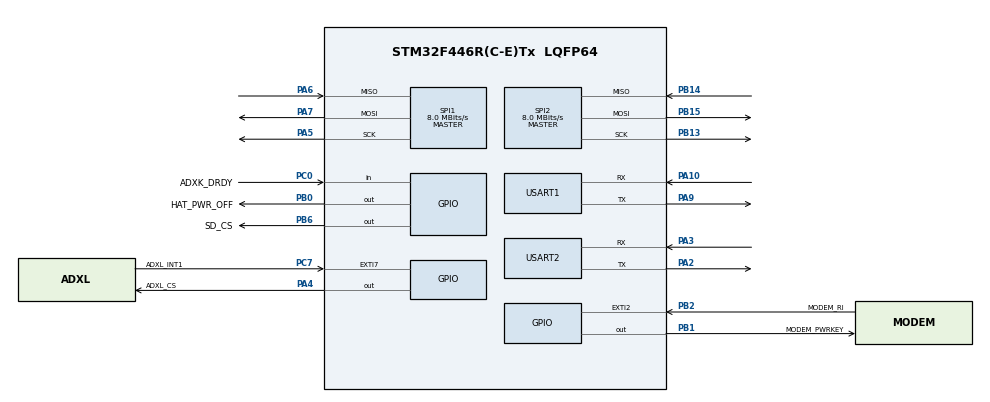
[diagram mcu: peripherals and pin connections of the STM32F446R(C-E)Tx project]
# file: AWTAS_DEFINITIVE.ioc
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Mcu.Family=STM32F4
Mcu.Name=STM32F446R(C-E)Tx
Mcu.Package=LQFP64
NVIC.EXTI9_5_IRQn=true\:0\:0\:false\:false\:true\:true\:true\:true
NVIC.PriorityGroup=NVIC_PRIORITYGROUP_4
PA10.Mode=Asynchronous
PA10.Signal=USART1_RX
PA13.Mode=Serial_Wire
PA13.Signal=SYS_JTMS-SWDIO
PA14.Mode=Serial_Wire
PA14.Signal=SYS_JTCK-SWCLK
PA2.Mode=Asynchronous
PA2.Signal=USART2_TX
PA3.Mode=Asynchronous
PA3.Signal=USART2_RX
PA4.GPIO_Label=ADXL_CS
PA4.GPIO_Speed=GPIO_SPEED_FREQ_HIGH
PA4.PinState=GPIO_PIN_SET
PA4.Signal=GPIO_Output
PA5.Mode=Full_Duplex_Master
PA5.Signal=SPI1_SCK
PA6.Mode=Full_Duplex_Master
PA6.Signal=SPI1_MISO
PA7.Mode=Full_Duplex_Master
PA7.Signal=SPI1_MOSI
PA9.Mode=Asynchronous
PA9.Signal=USART1_TX
PB0.GPIO_Label=HAT_PWR_OFF
PB0.GPIO_PuPd=GPIO_PULLDOWN
PB0.PinState=GPIO_PIN_RESET
PB0.Signal=GPIO_Output
PB1.GPIO_Label=MODEM_PWRKEY
PB1.GPIO_PuPd=GPIO_PULLDOWN
PB1.Signal=GPIO_Output
PB13.Mode=Full_Duplex_Master
PB13.Signal=SPI2_SCK
PB14.Mode=Full_Duplex_Master
PB14.Signal=SPI2_MISO
PB15.Mode=Full_Duplex_Master
PB15.Signal=SPI2_MOSI
PB2.GPIO_Label=MODEM_RI
PB2.GPIO_ModeDefaultEXTI=GPIO_MODE_IT_FALLING
PB2.GPIO_PuPd=GPIO_PULLUP
PB2.Signal=GPXTI2
PB6.GPIO_Label=SD_CS
PB6.GPIO_Speed=GPIO_SPEED_FREQ_HIGH
PB6.PinState=GPIO_PIN_SET
PB6.Signal=GPIO_Output
PC0.GPIO_Label=ADXK_DRDY
PC0.Signal=GPIO_Input
PC7.GPIO_Label=ADXL_INT1
PC7.GPIO_PuPd=GPIO_PULLDOWN
PC7.Signal=GPXTI7
ProjectManager.HeapSize=0x200
ProjectManager.StackSize=0x400
ProjectManager.TargetToolchain=STM32CubeIDE
RCC.CortexFreq_Value=16000000
RCC.USBFreq_Value=96000000
RCC.VCOOutputFreq_Value=192000000
SPI1.CalculateBaudRate=8.0 MBits/s
SPI1.Direction=SPI_DIRECTION_2LINES
SPI1.Mode=SPI_MODE_MASTER
SPI1.VirtualType=VM_MASTER
SPI2.CalculateBaudRate=8.0 MBits/s
SPI2.Direction=SPI_DIRECTION_2LINES
SPI2.Mode=SPI_MODE_MASTER
SPI2.VirtualType=VM_MASTER
USART1.VirtualMode=VM_ASYNC
USART2.VirtualMode=VM_ASYNC
board=custom

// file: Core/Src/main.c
/* USER CODE BEGIN Header */
/**
  ******************************************************************************
  * @file           : main.c
  * @brief          : Main program body
  ******************************************************************************
  * @attention
  *
  * Copyright (c) 2026 STMicroelectronics.
  * All rights reserved.
  *
  * This software is licensed under terms that can be found in the LICENSE file
  * in the root directory of this software component.
  * If no LICENSE file comes with this software, it is provided AS-IS.
  *
  ******************************************************************************
  */
/* USER CODE END Header */
#include "main.h"

/* USER CODE BEGIN Includes */
#include "Sd_spi.h"
#include "adxl355.h"
#include "ff.h"
#include "quectel_drive.h"
#include <stdio.h>
#include <string.h>
#include <stdlib.h>
#include <math.h>
/* USER CODE END Includes */

SPI_HandleTypeDef hspi1;
SPI_HandleTypeDef hspi2;

UART_HandleTypeDef huart1;
UART_HandleTypeDef huart2;

/* USER CODE BEGIN PV */
FATFS fs;
FIL fil;
FRESULT fres;
// Shadow variables for display
const char* range_str[] = {"+/- 2g", "+/- 4g", "+/- 8g"};
const char* odr_str[] = {"?", "4000Hz", "2000Hz", "1000Hz", "500Hz", "250Hz", "125Hz", "62.5Hz", "31.25Hz"};
int cur_range_idx = 0;
int cur_odr_idx = 6;
float trigger_g = 0.02f;
uint8_t hpf_enabled = 0;
uint8_t act_count = 5;
uint8_t operation_mode = 2;
volatile uint8_t g_event_pending = 0;
volatile uint8_t g_modem_abort_enabled = 0;

// Placeholder variables for future power measurement peripheral
float voltage_val = 0.0f;
float current_val = 0.0f;
float power_val = 0.0f;
/* USER CODE END PV */

void SystemClock_Config(void);
static void MX_GPIO_Init(void);
static void MX_SPI1_Init(void);
static void MX_USART2_UART_Init(void);
static void MX_SPI2_Init(void);
static void MX_USART1_UART_Init(void);
/* USER CODE BEGIN PFP */
void Print_Menu(void);
static void Run_Auto_Mode(void);
/* USER CODE END PFP */

/* USER CODE BEGIN 0 */
typedef enum {
    PWR_STATE_IDLE,
    PWR_STATE_LOW_POWER_WAITING,
    PWR_STATE_ACTIVE_RECORDING
} PowerState_t;

typedef enum {
    AUTO_STATE_IDLE_LOW_POWER,
    AUTO_STATE_ACQUISITION,
    AUTO_STATE_UPLOAD_PENDING,
    AUTO_STATE_CONFIG_CHECK
} AutoState_t;

void Print_Power_State(PowerState_t state) {
    printf("\r\n[POWER STATE: ");
    switch(state) {
        case PWR_STATE_IDLE:               printf("IDLE (Main Menu)"); break;
        case PWR_STATE_LOW_POWER_WAITING:  printf("LOW POWER (Sensor Armed - STM32 Sleep)"); break;
        case PWR_STATE_ACTIVE_RECORDING:   printf("ACTIVE (Acquisition & SD Write)"); break;
    }
    printf("]\r\n");
}

void Print_Menu(void) {
    Print_Power_State(PWR_STATE_IDLE);
    printf("\r\n--- ADXL355 Control Menu ---\r\n");
    printf("[SENSOR] Current Settings: Range: %s, ODR: %s\r\n", range_str[cur_range_idx], odr_str[cur_odr_idx]);
    printf("[SENSOR] m: Monitor Data (G)\r\n");
    printf("[SENSOR] l: Log Data to CSV\r\n");
    printf("[SENSOR] r: Set Range\r\n");
    printf("[SENSOR] o: Set ODR\r\n");
    printf("[SENSOR] t: Set Trigger (Current: %.2f G)\r\n", trigger_g);
    printf("[SENSOR] i: Interrupt Mode (Wake-on-Motion)\r\n");
    printf("[SENSOR] q: Stop/Back\r\n");
}

static int Queue_Append(const char* name) {
    FIL qf;
    FRESULT res = f_open(&qf, "QUEUE.TXT", FA_OPEN_APPEND | FA_WRITE);
    if (res != FR_OK) {
        res = f_open(&qf, "QUEUE.TXT", FA_CREATE_ALWAYS | FA_WRITE);
        if (res != FR_OK) {
            return -1;
        }
    }
    char line[40];
    size_t len = strlen(name);
    if (len > sizeof(line) - 3) {
        len = sizeof(line) - 3;
    }
    memcpy(line, name, len);
    line[len++] = '\r';
    line[len++] = '\n';
    UINT bw = 0;
    res = f_write(&qf, line, len, &bw);
    f_close(&qf);
    if (res != FR_OK || bw != len) {
        return -1;
    }
    return 0;
}

static int Queue_Peek(char* name, size_t name_size) {
    FIL qf;
    FRESULT res = f_open(&qf, "QUEUE.TXT", FA_READ);
    if (res != FR_OK) {
        return -1;
    }
    char line[40];
    while (f_gets(line, sizeof(line), &qf)) {
        char* p = line;
        while (*p == ' ' || *p == '\t' || *p == '\r' || *p == '\n') {
            p++;
        }
        if (*p == 0 || *p == '#') {
            continue;
        }
        char* end = p;
        while (*end && *end != '\r' && *end != '\n') {
            end++;
        }
        size_t len = (size_t)(end - p);
        if (len >= name_size) {
            len = name_size - 1;
        }
        memcpy(name, p, len);
        name[len] = 0;
        f_close(&qf);
        return 0;
    }
    f_close(&qf);
    return -1;
}

static int Queue_Pop(char* name, size_t name_size) {
    FIL qf;
    FRESULT res = f_open(&qf, "QUEUE.TXT", FA_READ);
    if (res != FR_OK) {
        return -1;
    }
    FIL tmp;
    res = f_open(&tmp, "QUEUE_TMP.TXT", FA_CREATE_ALWAYS | FA_WRITE);
    if (res != FR_OK) {
        f_close(&qf);
        return -1;
    }
    char line[40];
    int found = 0;
    while (f_gets(line, sizeof(line), &qf)) {
        char* p = line;
        while (*p == ' ' || *p == '\t' || *p == '\r' || *p == '\n') {
            p++;
        }
        if (!found && *p != 0 && *p != '#') {
            char* end = p;
            while (*end && *end != '\r' && *end != '\n') {
                end++;
            }
            size_t len = (size_t)(end - p);
            if (len >= name_size) {
                len = name_size - 1;
            }
            memcpy(name, p, len);
            name[len] = 0;
            found = 1;
            continue;
        }
        UINT bw = 0;
        res = f_write(&tmp, line, strlen(line), &bw);
        if (res != FR_OK) {
            f_close(&qf);
            f_close(&tmp);
            return -1;
        }
    }
    f_close(&qf);
    f_close(&tmp);
    if (!found) {
        f_unlink("QUEUE_TMP.TXT");
        return -1;
    }
    f_unlink("QUEUE.TXT");
    f_rename("QUEUE_TMP.TXT", "QUEUE.TXT");
    return 0;
}

static void Queue_RemoveFile(const char* name) {
    FIL qf;
    FRESULT res = f_open(&qf, "QUEUE.TXT", FA_READ);
    if (res != FR_OK) {
        return;
    }
    FIL tmp;
    res = f_open(&tmp, "QUEUE_TMP.TXT", FA_CREATE_ALWAYS | FA_WRITE);
    if (res != FR_OK) {
        f_close(&qf);
        return;
    }
    char line[40];
    while (f_gets(line, sizeof(line), &qf)) {
        char* p = line;
        while (*p == ' ' || *p == '\t' || *p == '\r' || *p == '\n') {
            p++;
        }
        if (*p == 0 || *p == '#') {
            UINT bw = 0;
            f_write(&tmp, line, strlen(line), &bw);
            continue;
        }
        char* end = p;
        while (*end && *end != '\r' && *end != '\n') {
            end++;
        }
        size_t len = (size_t)(end - p);
        size_t name_len = strlen(name);
        if (len == name_len && strncmp(p, name, len) == 0) {
            continue;
        }
        UINT bw = 0;
        f_write(&tmp, line, strlen(line), &bw);
    }
    f_close(&qf);
    f_close(&tmp);
    f_unlink("QUEUE.TXT");
    f_rename("QUEUE_TMP.TXT", "QUEUE.TXT");
}

void Apply_Remote_Config(const char* key, const char* val) {
    if (strcmp(key, "RANGE") == 0) {
        int g = atoi(val);
        if (g <= 2) {
            ADXL355_Set_Range(ADXL355_RANGE_2G);
            cur_range_idx = 0;
        } else if (g <= 4) {
            ADXL355_Set_Range(ADXL355_RANGE_4G);
            cur_range_idx = 1;
        } else {
            ADXL355_Set_Range(ADXL355_RANGE_8G);
            cur_range_idx = 2;
        }
        printf("[CONFIG] RANGE set to %s\r\n", range_str[cur_range_idx]);
    } else if (strcmp(key, "ODR_HZ") == 0) {
        int odr = atoi(val);
        switch (odr) {
            case 4000: ADXL355_Set_ODR(ADXL355_ODR_4000HZ); cur_odr_idx = 1; break;
            case 2000: ADXL355_Set_ODR(ADXL355_ODR_2000HZ); cur_odr_idx = 2; break;
            case 1000: ADXL355_Set_ODR(ADXL355_ODR_1000HZ); cur_odr_idx = 3; break;
            case 500:  ADXL355_Set_ODR(ADXL355_ODR_500HZ);  cur_odr_idx = 4; break;
            case 250:  ADXL355_Set_ODR(ADXL355_ODR_250HZ);  cur_odr_idx = 5; break;
            case 125:  ADXL355_Set_ODR(ADXL355_ODR_125HZ);  cur_odr_idx = 6; break;
            case 62:   ADXL355_Set_ODR(ADXL355_ODR_62_5HZ); cur_odr_idx = 7; break;
            case 31:   ADXL355_Set_ODR(ADXL355_ODR_31_25HZ); cur_odr_idx = 8; break;
            default: break;
        }
        if (cur_odr_idx > 0) printf("[CONFIG] ODR set to %s\r\n", odr_str[cur_odr_idx]);
    } else if (strcmp(key, "TRIGGER_G") == 0) {
        float t = atof(val);
        if (t > 0.0f) {
            trigger_g = t;
            printf("[CONFIG] Trigger set to %.2f G\r\n", trigger_g);
        }
    } else if (strcmp(key, "HPF") == 0) {
        uint8_t enable = 0;
        if (strcasecmp(val, "ON") == 0 || strcmp(val, "1") == 0) enable = 1;
        else if (strcasecmp(val, "OFF") == 0 || strcmp(val, "0") == 0) enable = 0;
        hpf_enabled = enable;
        ADXL355_Set_HPF(hpf_enabled);
        printf("[CONFIG] HPF %s\r\n", hpf_enabled ? "ON" : "OFF");
    } else if (strcmp(key, "ACT_COUNT") == 0) {
        int c = atoi(val);
        if (c < 1) c = 1;
        if (c > 255) c = 255;
        act_count = (uint8_t)c;
        printf("[CONFIG] ACT_COUNT set to %d\r\n", c);
    } else if (strcmp(key, "OPERATION_MODE") == 0 || strcmp(key, "MODE") == 0) {
        int m = atoi(val);
        if (m == 1 || m == 2) {
            operation_mode = (uint8_t)m;
            printf("[CONFIG] OPERATION_MODE=%d\r\n", m);
        } else {
            operation_mode = 2;
            printf("[CONFIG] OPERATION_MODE invalid, forcing=2\r\n");
        }
    }
}

static void Run_Auto_Mode(void) {
    AutoState_t state = AUTO_STATE_IDLE_LOW_POWER;
    uint32_t last_cfg = HAL_GetTick();
    char filename[20];
    char last_recorded[20] = {0};
    char buffer[256];
    unsigned int bytes_written;
    printf("[AUTO] Entrando en modo autonomo (FSM)\r\n");
    ADXL355_Config_WakeOnMotion(trigger_g, act_count);
    printf("[AUTO] Wake-on-motion armado (%.2f G, count=%d)\r\n", trigger_g, act_count);
    while (1) {
        switch (state) {
            case AUTO_STATE_IDLE_LOW_POWER: {
                // Heartbeat log para indicar que el sistema esta vivo esperando
                static uint32_t last_idle_print = 0;
                if (HAL_GetTick() - last_idle_print > 10000) { // Cada 10s
                     printf("[AUTO] IDLE: Sistema armado y esperando evento (%.2f G)...\r\n", trigger_g);
                     last_idle_print = HAL_GetTick();
                }

                if (g_event_pending || HAL_GPIO_ReadPin(ADXL_INT1_GPIO_Port, ADXL_INT1_Pin) == GPIO_PIN_SET) {
                    g_event_pending = 0;
                    printf("[AUTO] Trigger detectado, iniciando adquisicion\r\n");
                    state = AUTO_STATE_ACQUISITION;
                } else {
                    if (HAL_GetTick() - last_cfg > 1200000) {
                        state = AUTO_STATE_CONFIG_CHECK;
                    } else {
                        HAL_Delay(50);
                    }
                }
            } break;
            case AUTO_STATE_ACQUISITION: {
                for (int i = 1; i < 999; i++) {
                    sprintf(filename, "TRIG_%03d.CSV", i);
                    if (f_open(&fil, filename, FA_READ) != FR_OK) { break; }
                    f_close(&fil);
                }
                if (f_open(&fil, filename, FA_CREATE_ALWAYS | FA_WRITE) == FR_OK) {
                    sprintf(buffer, "timestamp_rel_s;timestamp_abs;unix_time;x_g;y_g;z_g;voltaje;corriente;potencia\r\n");
                    f_write(&fil, buffer, strlen(buffer), &bytes_written);
                    uint32_t start_tick = HAL_GetTick();
                    uint32_t rec_start = HAL_GetTick();
                    uint32_t read_index = 0;
                    uint8_t earthquake_detected = 0;
                    uint32_t settling_start = 0;
                    uint8_t in_settling = 0;
                    float prev_mag = -1.0f;
                    const float static_delta = 0.005f;
                    uint32_t settling_duration = 3000;
                    const uint32_t min_duration = 3000;
                    uint32_t last_print = HAL_GetTick();

                        // TIMEOUT DINAMICO:
                        // Si el evento dura poco, salimos rapido. Si dura mucho, cortamos en 15 minutos (900000 ms).
                        while ((HAL_GetTick() - rec_start) < 900000) {
                            ADXL355_Data_t d;
                            ADXL355_Read_Data(&d);

                            float current_mag = sqrtf(d.x_g * d.x_g + d.y_g * d.y_g);

                            if (current_mag < trigger_g) {
                                if (!in_settling) {
                                    in_settling = 1;
                                    settling_start = HAL_GetTick();
                                    printf("\r\n[AUTO] SETTLING: Silencio detectado (<%.2f G). Esperando %lu ms...\r\n", trigger_g, (unsigned long)settling_duration);
                                }

                                float delta = (prev_mag < 0) ? 0.0f : fabsf(current_mag - prev_mag);
                                if (delta > static_delta) {
                                    // if ((HAL_GetTick() - settling_start) > 500) {
                                    //     printf("[AUTO] Movimiento residual detectado. Reiniciando settling.\r\n");
                                    // }
                                    // settling_start = HAL_GetTick();
                                }

                                // CONDICION DE SALIDA:
                                // 1. Estamos en periodo de settling
                                // 2. Ha pasado el tiempo de settling (3s)
                                // 3. Y ADEMAS hemos grabado al menos el tiempo minimo (3s)
                                if ((HAL_GetTick() - settling_start) > settling_duration) {
                                    if ((HAL_GetTick() - rec_start) > min_duration) {
                                        printf("\r\n[AUTO] EVENT FINISHED: System settled (%.1f s duration).\r\n", (float)(HAL_GetTick() - rec_start)/1000.0f);
                                        break;
                                    }
                                }
                            } else {
                                if (in_settling) {
                                    printf("\r\n[AUTO] NEW EVENT DETECTED: Interrupting settling...\r\n");
                                }
                                in_settling = 0;
                            }
                            prev_mag = current_mag;

                            if ((d.x_g > 2.0f || d.x_g < -2.0f) ||
                                (d.y_g > 2.0f || d.y_g < -2.0f) ||
                                (d.z_g > 2.0f || d.z_g < -2.0f)) {
                                printf("\r\n[AUTO] EARTHQUAKE/SHOCK DETECTED (>2.0G)! Aborting...\r\n");
                                earthquake_detected = 1;
                                break;
                            }
                            (void)ADXL355_Get_FIFO_Entries();
                            uint32_t current_tick = HAL_GetTick();
                            uint32_t elapsed_ms = current_tick - start_tick;
                            uint32_t base_sec = 1767817653;
                            uint32_t rel_sec = elapsed_ms / 1000;
                            uint32_t rel_us = (elapsed_ms % 1000) * 1000;
                            int32_t x_ug = (int32_t)(d.x_g * 1000000);
                            int32_t y_ug = (int32_t)(d.y_g * 1000000);
                            int32_t z_ug = (int32_t)(d.z_g * 1000000);
                            sprintf(buffer, "%lu.%06lu;%lu.%06lu;%lu.%06lu;%ld.%06ld;%ld.%06ld;%ld.%06ld;%.2f;%.2f;%.2f\r\n",
                                    rel_sec, rel_us, base_sec + rel_sec, rel_us, base_sec + rel_sec, rel_us,
                                    x_ug/1000000, (x_ug<0?-x_ug:x_ug)%1000000,
                                    y_ug/1000000, (y_ug<0?-y_ug:y_ug)%1000000,
                                    z_ug/1000000, (z_ug<0?-z_ug:z_ug)%1000000,
                                    voltage_val, current_val, power_val);

                            // ESCRITURA FORZADA: Forzar volcado a disco fisico cada 100 muestras o 1 segundo
                            // para evitar que los datos se queden en cache RAM y se pierdan si se cierra el archivo rapido.
                            UINT bw;
                            f_write(&fil, buffer, strlen(buffer), &bw);
                            if (read_index % 100 == 0) {
                                f_sync(&fil);
                            }

                            read_index++;
                            if (HAL_GetTick() - last_print >= 125) {
                                int32_t x_mg = (int32_t)(d.x_g * 1000);
                                int32_t y_mg = (int32_t)(d.y_g * 1000);
                                int32_t z_mg = (int32_t)(d.z_g * 1000);
                                printf("[AUTO] X:%ld.%03ld Y:%ld.%03ld Z:%ld.%03ld g | T:%.1fs\r\n",
                                       x_mg/1000, (x_mg<0?-x_mg:x_mg)%1000,
                                       y_mg/1000, (y_mg<0?-y_mg:y_mg)%1000,
                                       z_mg/1000, (z_mg<0?-z_mg:z_mg)%1000,
                                       (float)(HAL_GetTick() - rec_start)/1000.0f);
                                last_print = HAL_GetTick();
                            }
                            HAL_Delay(10);
                        }
                    f_close(&fil);
                    if (!earthquake_detected) {
                        Queue_Append(filename);
                        strncpy(last_recorded, filename, sizeof(last_recorded));
                        last_recorded[sizeof(last_recorded) - 1] = '\0';
                    }
                }
                state = AUTO_STATE_UPLOAD_PENDING;
            } break;
            case AUTO_STATE_UPLOAD_PENDING: {
                HAL_StatusTypeDef st = HAL_ERROR;
                char oldest[40];
                uint8_t uploaded_pending = 0;

                if (Queue_Peek(oldest, sizeof(oldest)) == 0) {
                    int is_actual = (last_recorded[0] != 0 && strcmp(oldest, last_recorded) == 0);
                    const char* tag = is_actual ? "[ACTUAL]" : "[PENDIENTE]";
                    for (int attempt = 1; attempt <= 3; attempt++) {
                        printf("[AUTO] Subiendo %s (intento %d/3) %s\r\n", tag, attempt, oldest);

                        // Verificar interrupcion antes de iniciar
                        if (g_event_pending) {
                             printf("[AUTO] Interrupcion detectada antes de subida. Abortando.\r\n");
                             st = HAL_BUSY;
                             break;
                        }

                        uint8_t prev_abort = g_modem_abort_enabled;
                        g_modem_abort_enabled = 1; // Permitir aborto
                        st = Modem_UploadFile(oldest);
                        g_modem_abort_enabled = prev_abort;

                        if (st == HAL_OK) {
                            char tmp[40];
                            Queue_Pop(tmp, sizeof(tmp));
                            Queue_RemoveFile(oldest);
                            printf("[QUEUE] Removido de cola: %s\r\n", oldest);
                            if (!is_actual) {
                                uploaded_pending = 1;
                            }
                            break;
                        } else if (g_event_pending) {
                             // Si fallo por evento, salir del bucle de intentos
                             break;
                        }

                        // Esperar un poco antes de reintentar si no fue evento
                        HAL_Delay(2000);
                    }
                }

                if (g_event_pending) {
                     printf("[AUTO] Salida de estado UPLOAD por evento pendiente.\r\n");
                     state = AUTO_STATE_IDLE_LOW_POWER;
                     // Salir del switch para procesar evento inmediatamente en siguiente iteracion
                     break;
                }

                if (st == HAL_OK && uploaded_pending) {
                    // Verificar si hubo interrupcion durante la subida anterior
                    if (g_event_pending) {
                        printf("[AUTO] Interrupcion detectada durante subida. Abortando cola para adquirir.\r\n");
                        state = AUTO_STATE_IDLE_LOW_POWER; // Volver a IDLE para procesar el evento
                        break;
                    }

                    char next[40];
                    if (Queue_Peek(next, sizeof(next)) == 0) {
                        int is_actual_next = (last_recorded[0] != 0 && strcmp(next, last_recorded) == 0);
                        const char* tag2 = is_actual_next ? "[ACTUAL]" : "[PENDIENTE]";
                        printf("[AUTO] Subiendo %s %s\r\n", tag2, next);

                        // NO LIMPIAR g_event_pending AQUI. Si ocurre evento, Modem_UploadFile deberia abortar o lo detectamos despues.
                        uint8_t prev_abort2 = g_modem_abort_enabled;
                        g_modem_abort_enabled = 1; // Habilitar aborto por interrupcion

                        HAL_StatusTypeDef st2 = Modem_UploadFile(next);
                        g_modem_abort_enabled = prev_abort2;

                        if (st2 == HAL_OK) {
                            char tmp2[40];
                            Queue_Pop(tmp2, sizeof(tmp2));
                            Queue_RemoveFile(next);
                            printf("[QUEUE] Removido de cola: %s\r\n", next);
                        } else if (g_event_pending) {
                             printf("[AUTO] Subida abortada por evento.\r\n");
                             state = AUTO_STATE_IDLE_LOW_POWER;
                             break;
                        }
                        st = st2;
                    }
                }

                ADXL355_Config_WakeOnMotion(trigger_g, act_count);
                printf("[AUTO] Subida terminada (status=%ld), rearmando wake-on-motion\r\n", (long)st);
                state = AUTO_STATE_IDLE_LOW_POWER;
            } break;
            case AUTO_STATE_CONFIG_CHECK: {
                g_modem_abort_enabled = 1;
                char cfg[MODEM_BUFFER_SIZE];
                // Modem_DownloadConfig aplica la configuracion internamente via Apply_Remote_Config
                if (Modem_DownloadConfig(cfg, sizeof(cfg)) == HAL_OK) {
                    printf("[AUTO] Configuracion verificada y actualizada.\r\n");
                }
                last_cfg = HAL_GetTick();
                state = AUTO_STATE_IDLE_LOW_POWER;
            } break;
        }
    }
}

static void Run_Manual_Mode(void) {
    ADXL355_Data_t data;
    uint8_t rx_byte = 0;
    uint8_t monitoring = 0;
    uint8_t logging = 0;
    char filename[20];
    char buffer[256];
    unsigned int bytes_written;
    uint32_t start_tick;
    uint32_t read_index = 0;
    while (1)
    {
      // Check UART input (Non-blocking)
      if (HAL_UART_Receive(&huart2, &rx_byte, 1, 0) == HAL_OK) {
          switch(rx_byte) {
              case 'm':
                  monitoring = 1;
                  printf("[SENSOR] Monitoring Started (Press 'q' to stop)\r\n");
                  break;
              case 'l':
                  if (fres != FR_OK) {
                      printf("[STORAGE] SD Card not mounted! Cannot log.\r\n");
                      break;
                  }
                  // Find next filename
                  for (int i = 1; i < 999; i++) {
                      sprintf(filename, "DATA_%03d.CSV", i);
                      if (f_open(&fil, filename, FA_READ) != FR_OK) {
                          // File does not exist, use this one
                          break;
                      }
                      f_close(&fil);
                  }

                  if (f_open(&fil, filename, FA_CREATE_ALWAYS | FA_WRITE) == FR_OK) {
                      printf("[STORAGE] Logging to %s (Press 'q' to stop)\r\n", filename);
                      // Write Header
                    sprintf(buffer, "timestamp_rel_s;timestamp_abs;unix_time;x_g;y_g;z_g;voltaje;corriente;potencia\r\n");
                    f_write(&fil, buffer, strlen(buffer), &bytes_written);
                      logging = 1;
                      start_tick = HAL_GetTick();
                      read_index = 0;
                  } else {
                      printf("[STORAGE] Failed to open file %s\r\n", filename);
                  }
                  break;
              case 'q':
              case 'x': // Keep x for compatibility
                  if (monitoring) {
                      monitoring = 0;
                      printf("[SENSOR] Monitoring Stopped\r\n");
                  }
                  if (logging) {
                      logging = 0;
                      f_close(&fil);
                      printf("[STORAGE] Logging Stopped. File saved: %s\r\n", filename);

                      // Flush UART buffer before prompting
                      while(HAL_UART_Receive(&huart2, &rx_byte, 1, 10) == HAL_OK);
                      printf("\r\nSUBIR archivo a Google Drive? (s/n): ");
                      uint8_t upload_choice = 0;
                      while(1) {
                          if (HAL_UART_Receive(&huart2, &upload_choice, 1, 100) == HAL_OK) {
                              if (upload_choice == 's' || upload_choice == 'S') {
                                  printf("Si\r\n");
                                  uint8_t prev_abort = g_modem_abort_enabled;
                                  uint8_t prev_event = g_event_pending;
                                  g_modem_abort_enabled = 0;
                                  g_event_pending = 0;
                                  Modem_UploadFile(filename);
                                  g_modem_abort_enabled = prev_abort;
                                  g_event_pending = prev_event;
                                  break;
                              } else if (upload_choice == 'n' || upload_choice == 'N') {
                                  printf("No\r\n");
                                  break;
                              }
                          }
                      }
                  }
                  Print_Menu();
                  break;
              case 'r':
                  monitoring = 0; logging = 0;
                  printf("\r\nSelect Range (Current: %s):\r\n1: +/- 2g\r\n2: +/- 4g\r\n3: +/- 8g\r\n", range_str[cur_range_idx]);
                  HAL_UART_Receive(&huart2, &rx_byte, 1, HAL_MAX_DELAY); // Wait for input
                  if(rx_byte == '1') { ADXL355_Set_Range(ADXL355_RANGE_2G); cur_range_idx = 0; printf("Range set to 2g\r\n"); }
                  else if(rx_byte == '2') { ADXL355_Set_Range(ADXL355_RANGE_4G); cur_range_idx = 1; printf("Range set to 4g\r\n"); }
                  else if(rx_byte == '3') { ADXL355_Set_Range(ADXL355_RANGE_8G); cur_range_idx = 2; printf("Range set to 8g\r\n"); }
                  else printf("Invalid Range\r\n");
                  Print_Menu();
                  break;
              case 'o':
                  monitoring = 0; logging = 0;
                  printf("\r\nSelect ODR (Current: %s):\r\n1: 4000Hz\r\n2: 2000Hz\r\n3: 1000Hz\r\n4: 500Hz\r\n5: 250Hz\r\n6: 125Hz\r\n7: 62.5Hz\r\n8: 31.25Hz\r\n", odr_str[cur_odr_idx]);
                  HAL_UART_Receive(&huart2, &rx_byte, 1, HAL_MAX_DELAY); // Wait for input
                  switch(rx_byte) {
                      case '1': ADXL355_Set_ODR(ADXL355_ODR_4000HZ); cur_odr_idx = 1; printf("ODR set to 4000Hz\r\n"); break;
                      case '2': ADXL355_Set_ODR(ADXL355_ODR_2000HZ); cur_odr_idx = 2; printf("ODR set to 2000Hz\r\n"); break;
                      case '3': ADXL355_Set_ODR(ADXL355_ODR_1000HZ); cur_odr_idx = 3; printf("ODR set to 1000Hz\r\n"); break;
                      case '4': ADXL355_Set_ODR(ADXL355_ODR_500HZ);  cur_odr_idx = 4; printf("ODR set to 500Hz\r\n");  break;
                      case '5': ADXL355_Set_ODR(ADXL355_ODR_250HZ);  cur_odr_idx = 5; printf("ODR set to 250Hz\r\n");  break;
                      case '6': ADXL355_Set_ODR(ADXL355_ODR_125HZ);  cur_odr_idx = 6; printf("ODR set to 125Hz\r\n");  break;
                      case '7': ADXL355_Set_ODR(ADXL355_ODR_62_5HZ); cur_odr_idx = 7; printf("ODR set to 62.5Hz\r\n"); break;
                      case '8': ADXL355_Set_ODR(ADXL355_ODR_31_25HZ); cur_odr_idx = 8; printf("ODR set to 31.25Hz\r\n"); break;
                      default: printf("Invalid ODR\r\n"); break;
                  }
                  Print_Menu();
                  break;
              case 't': {
                  monitoring = 0; logging = 0;
                  printf("\r\n--- Set Trigger Threshold ---\r\n");
                  printf("Current: %.2f G\r\n", trigger_g);
                  printf("Enter new value [e.g. 0.5] (q to cancel, Enter to save): ");

                  char t_buf[10];
                  int t_idx = 0;
                  uint8_t exit_case = 0;

                  // Flush UART buffer to remove any leftover characters (like \r or \n)
                  while(HAL_UART_Receive(&huart2, &rx_byte, 1, 10) == HAL_OK);

                  while(1) {
                      if(HAL_UART_Receive(&huart2, &rx_byte, 1, 100) == HAL_OK) {
                          if(rx_byte == 'q' || rx_byte == 'Q') {
                              printf("\r\nCancelled.\r\n");
                              exit_case = 1;
                              break;
                          }
                          if(rx_byte == '\r' || rx_byte == '\n') {
                              if (t_idx > 0) break; // Save if something was typed
                              else { // Just Enter without value
                                  printf("\r\nCancelled (No value entered).\r\n");
                                  exit_case = 1;
                                  break;
                              }
                          }
                          // Handle Backspace (ASCII 8 or 127)
                          if(rx_byte == 8 || rx_byte == 127) {
                              if(t_idx > 0) {
                                  t_idx--;
                                  printf("\b \b"); // Move back, print space, move back again
                              }
                              continue;
                          }
                          // Only allow numbers and decimal point
                          if((rx_byte >= '0' && rx_byte <= '9') || rx_byte == '.') {
                              if(t_idx < 9) {
                                  t_buf[t_idx++] = rx_byte;
                                  HAL_UART_Transmit(&huart2, &rx_byte, 1, 100); // Echo
                              }
                          } else {
                              // Ignore other characters without printing error to keep it clean
                          }
                      }
                  }

                  if (!exit_case && t_idx > 0) {
                      t_buf[t_idx] = 0;
                      float new_trigger = atof(t_buf);
                      if (new_trigger > 0.0f) {
                          trigger_g = new_trigger;
                          printf("\r\nSUCCESS: Trigger set to %.2f G\r\n", trigger_g);
                      } else {
                          printf("\r\nERROR: Invalid numeric value.\r\n");
                      }
                  }

                  // Final menu display to ensure we know where we are
                  Print_Menu();
                  break;
              }

              case 'i': {
                  monitoring = 0; logging = 0;
                  if (fres != FR_OK) { printf("SD Not Mounted!\r\n"); break; }
                  printf("\r\nARMING INTERRUPT MODE (Threshold: %.2f G, Count: %d)...\r\n", trigger_g, act_count);
                  ADXL355_Config_WakeOnMotion(trigger_g, act_count);
                  printf("ARMED. Waiting for motion... (Press 'q' to abort)\r\n");
                  Print_Power_State(PWR_STATE_LOW_POWER_WAITING);

                  uint8_t waiting = 1;
                  uint32_t last_display_tick = 0;
                  while(waiting) {
                      // Show current values while waiting for motion
                      if (HAL_GetTick() - last_display_tick > 150) {
                          ADXL355_Read_Data(&data);
                          int32_t x_mg = (int32_t)(data.x_g * 1000);
                          int32_t y_mg = (int32_t)(data.y_g * 1000);
                          int32_t z_mg = (int32_t)(data.z_g * 1000);
                          printf("\rWait... X: %ld.%03ld | Y: %ld.%03ld | Z: %ld.%03ld g  ",
                                 x_mg/1000, (x_mg<0?-x_mg:x_mg)%1000,
                                 y_mg/1000, (y_mg<0?-y_mg:y_mg)%1000,
                                 z_mg/1000, (z_mg<0?-z_mg:z_mg)%1000);
                          last_display_tick = HAL_GetTick();
                      }

                      // Check INT1 (Active High)
                      if(HAL_GPIO_ReadPin(ADXL_INT1_GPIO_Port, ADXL_INT1_Pin) == GPIO_PIN_SET) {
                          Print_Power_State(PWR_STATE_ACTIVE_RECORDING);
                          printf("MOTION DETECTED! Recording...\r\n");

                          // Find filename for trigger log
                          for (int i = 1; i < 999; i++) {
                              sprintf(filename, "TRIG_%03d.CSV", i);
                              if (f_open(&fil, filename, FA_READ) != FR_OK) break;
                              f_close(&fil);
                          }

                          if (f_open(&fil, filename, FA_CREATE_ALWAYS | FA_WRITE) == FR_OK) {
                                printf("Logging to %s\r\n", filename);
                                // Header with semi-colon
                                sprintf(buffer, "timestamp_rel_s;timestamp_abs;unix_time;x_g;y_g;z_g;voltaje;corriente;potencia\r\n");
                                f_write(&fil, buffer, strlen(buffer), &bytes_written);

                              start_tick = HAL_GetTick();
                              read_index = 0;
                              uint32_t rec_start = HAL_GetTick();
                              uint8_t earthquake_detected = 0;

                              // Settling logic variables
                              uint32_t settling_start = 0;
                              uint8_t in_settling = 0;
                              float prev_mag = -1.0f;
                              const float static_delta = 0.005f; // 5mg stability threshold
                              const uint32_t settling_duration = 3000; // 3 seconds of stability required

                              // Record for up to 60 seconds or until settled/aborted
                              while((HAL_GetTick() - rec_start) < 60000) {
                                  ADXL355_Read_Data(&data);

                                  // 1. Calculate Magnitude (XY only, Z is ignored due to 1G gravity)
                                  float current_mag = sqrtf(data.x_g * data.x_g + data.y_g * data.y_g);

                                  // 2. Auto-stop logic: check if event has finished
                                  if (current_mag < trigger_g) {
                                      if (!in_settling) {
                                          in_settling = 1;
                                          settling_start = HAL_GetTick();
                                          printf("\r\nSETTLING: Starting settling counter (3000 ms)...\r\n");
                                      }

                                      // Check if "static" (change between samples is very low)
                                      float delta = (prev_mag < 0) ? 0 : fabsf(current_mag - prev_mag);
                                      if (delta > static_delta) {
                                          // Still moving significantly, reset settling timer
                                          if ((HAL_GetTick() - settling_start) > 500) { // Avoid spamming if very close to delta
                                              printf("Moving... resetting settling time.\r\n");
                                          }
                                          settling_start = HAL_GetTick();
                                      }

                                      // If stable for the required duration, stop recording
                                      if ((HAL_GetTick() - settling_start) > settling_duration) {
                                          printf("\r\nEVENT FINISHED: System settled.\r\n");
                                          break;
                                      }
                                  } else {
                                      // Back above threshold, event is still active
                                      if (in_settling) {
                                          printf("\r\nNEW EVENT DETECTED: Interrupting settling, continuing log...\r\n");
                                      }
                                      in_settling = 0;
                                  }
                                  prev_mag = current_mag;

                                  // Earthquake Rejection Logic (Abort if > 2.0g)
                                  if ((data.x_g > 2.0f || data.x_g < -2.0f) ||
                                      (data.y_g > 2.0f || data.y_g < -2.0f) ||
                                      (data.z_g > 2.0f || data.z_g < -2.0f)) {
                                      printf("\r\nEARTHQUAKE/SHOCK DETECTED (>2.0G)! Aborting...\r\n");
                                      earthquake_detected = 1;
                                      break;
                                  }

                                  (void)ADXL355_Get_FIFO_Entries();
                                  uint32_t current_tick = HAL_GetTick();
                                  uint32_t elapsed_ms = current_tick - start_tick;

                                  uint32_t base_sec = 1767817653;
                                  uint32_t rel_sec = elapsed_ms / 1000;
                                  uint32_t rel_us = (elapsed_ms % 1000) * 1000;

                                  int32_t x_ug = (int32_t)(data.x_g * 1000000);
                                  int32_t y_ug = (int32_t)(data.y_g * 1000000);
                                  int32_t z_ug = (int32_t)(data.z_g * 1000000);

                                  sprintf(buffer, "%lu.%06lu;%lu.%06lu;%lu.%06lu;%ld.%06ld;%ld.%06ld;%ld.%06ld;%.2f;%.2f;%.2f\r\n",
                                         rel_sec, rel_us, base_sec + rel_sec, rel_us, base_sec + rel_sec, rel_us,
                                         x_ug/1000000, (x_ug<0?-x_ug:x_ug)%1000000,
                                         y_ug/1000000, (y_ug<0?-y_ug:y_ug)%1000000,
                                         z_ug/1000000, (z_ug<0?-z_ug:z_ug)%1000000,
                                         voltage_val, current_val, power_val);

                                  f_write(&fil, buffer, strlen(buffer), &bytes_written);
                                  read_index++; // Increment read_index for internal tracking

                                  if(HAL_UART_Receive(&huart2, &rx_byte, 1, 0) == HAL_OK && rx_byte == 'q') break;
                              }
                              f_close(&fil);

                              if(earthquake_detected) {
                                  // Optional: Delete the file if earthquake
                                  // f_unlink(filename);
                                  printf("Log file kept but marked as potentially invalid (Shock).\r\n");
                              } else {
                                  printf("Recording Finished.\r\n");

                                  // Preguntar por subida a Drive
                                  printf("\r\nSUBIR archivo a Google Drive? (s/n): ");
                                  uint8_t upload_choice_i = 0;
                                  while(1) {//
                                      if (HAL_UART_Receive(&huart2, &upload_choice_i, 1, 100) == HAL_OK) {
                                          if (upload_choice_i == 's' || upload_choice_i == 'S') {
                                              printf("Si\r\n");
                                              uint8_t prev_abort_i = g_modem_abort_enabled;
                                              uint8_t prev_event_i = g_event_pending;
                                              g_modem_abort_enabled = 0;
                                              g_event_pending = 0;
                                              Modem_UploadFile(filename);
                                              g_modem_abort_enabled = prev_abort_i;
                                              g_event_pending = prev_event_i;
                                              break;
                                          } else if (upload_choice_i == 'n' || upload_choice_i == 'N') {
                                              printf("No\r\n");
                                              break;
                                          }
                                      }
                                  }
                              }
                          } else {
                              printf("Failed to open file %s\r\n", filename);
                          }
                          waiting = 0;
                      }

                      if(HAL_UART_Receive(&huart2, &rx_byte, 1, 0) == HAL_OK && (rx_byte == 'q' || rx_byte == 'Q')) {
                          printf("Aborted.\r\n");
                          waiting = 0;
                      }
                  }

                  // Restore Settings
                  ADXL355_Write_Reg(ADXL355_ACT_EN, 0x00);
                  // Restore Range (Index 0 -> 2G (0x01), etc.)
                  ADXL355_Set_Range((ADXL355_Range_t)(cur_range_idx + 1));
                  // Restore ODR
                  if(cur_odr_idx > 0) ADXL355_Set_ODR((ADXL355_ODR_t)(cur_odr_idx - 1));

                  printf("System Restored.\r\n");
                  Print_Menu();
                  break;
              }
          }
      }

      if (monitoring) {
          ADXL355_Read_Data(&data);
          // Print as integer * 1000 to avoid float printf issues
          int32_t x_mg = (int32_t)(data.x_g * 1000);
          int32_t y_mg = (int32_t)(data.y_g * 1000);
          int32_t z_mg = (int32_t)(data.z_g * 1000);

          printf("X: %ld.%03ld g | Y: %ld.%03ld g | Z: %ld.%03ld g\r\n",
                 x_mg/1000, (x_mg<0?-x_mg:x_mg)%1000,
                 y_mg/1000, (y_mg<0?-y_mg:y_mg)%1000,
                 z_mg/1000, (z_mg<0?-z_mg:z_mg)%1000);

          HAL_Delay(100); // 10Hz Update for display
      }

      if (logging) {
          ADXL355_Read_Data(&data);
          (void)ADXL355_Get_FIFO_Entries();
          uint32_t current_tick = HAL_GetTick();
          uint32_t elapsed_ms = current_tick - start_tick;
          uint32_t base_sec = 1767817653;
          uint32_t rel_sec = elapsed_ms / 1000;
          uint32_t rel_us = (elapsed_ms % 1000) * 1000;
          int32_t x_ug = (int32_t)(data.x_g * 1000000);
          int32_t y_ug = (int32_t)(data.y_g * 1000000);
          int32_t z_ug = (int32_t)(data.z_g * 1000000);
          sprintf(buffer, "%lu.%06lu;%lu.%06lu;%lu.%06lu;%ld.%06ld;%ld.%06ld;%ld.%06ld;%.2f;%.2f;%.2f\r\n",
                 rel_sec, rel_us,
                 base_sec + rel_sec, rel_us,
                 base_sec + rel_sec, rel_us,
                 x_ug/1000000, (x_ug<0?-x_ug:x_ug)%1000000,
                 y_ug/1000000, (y_ug<0?-y_ug:y_ug)%1000000,
                 z_ug/1000000, (z_ug<0?-z_ug:z_ug)%1000000,
                 voltage_val, current_val, power_val);
          f_write(&fil, buffer, strlen(buffer), &bytes_written);
          read_index++;
      }
    }
}
/* USER CODE END 0 */

int main(void)
{

  /* MCU Configuration--------------------------------------------------------*/

  /* Reset of all peripherals, Initializes the Flash interface and the Systick. */
  HAL_Init();

  /* Configure the system clock */
  SystemClock_Config();

  /* Initialize all configured peripherals */
  MX_GPIO_Init();
  MX_SPI1_Init();
  MX_USART2_UART_Init();
  MX_SPI2_Init();
  MX_USART1_UART_Init();
  /* USER CODE BEGIN 2 */
  Modem_Init(&huart1);
  printf("\r\n--- AWTAS INITIALIZING (AUTONOMOUS WIRELESS TRIAXIAL ADQUISITION SYSTEM) ---\r\n");
  Modem_PowerOn();
  if (ADXL355_Init(&hspi2)) {
      printf("[SENSOR] ADXL355 Initialized Successfully\r\n");
      ADXL355_LevelToZero();
  } else {
      printf("[SENSOR] ADXL355 Initialization Failed\r\n");
  }

  if (sd_mount() == 0) {
      fres = FR_OK;
  } else {
      fres = FR_NOT_READY;
  }
  char config_buffer[MODEM_BUFFER_SIZE];
  // Modem_DownloadConfig aplica la configuracion internamente, incluyendo OPERATION_MODE
  if (Modem_DownloadConfig(config_buffer, sizeof(config_buffer)) == HAL_OK) {
      printf("[CONFIG] Remote configuration downloaded and applied.\r\n");
      printf("[CONFIG] Buffer recibido (inicio):\r\n%s\r\n", config_buffer);
      printf("[CONFIG] OPERATION_MODE effective=%d\r\n", operation_mode);
  } else {
      printf("[CONFIG] Remote configuration not applied (Error or Timeout).\r\n");
  }
  g_modem_abort_enabled = 1;
  if (operation_mode == 2) {
      Run_Auto_Mode();
  } else {
      Print_Menu();
      Run_Manual_Mode();
  }
  /* USER CODE END 2 */

  /* Infinite loop */
  while (1)
  {
  }

  }

void SystemClock_Config(void)
{
  RCC_OscInitTypeDef RCC_OscInitStruct = {0};
  RCC_ClkInitTypeDef RCC_ClkInitStruct = {0};

  /** Configure the main internal regulator output voltage
  */
  __HAL_RCC_PWR_CLK_ENABLE();
  __HAL_PWR_VOLTAGESCALING_CONFIG(PWR_REGULATOR_VOLTAGE_SCALE3);

  /** Initializes the RCC Oscillators according to the specified parameters
  * in the RCC_OscInitTypeDef structure.
  */
  RCC_OscInitStruct.OscillatorType = RCC_OSCILLATORTYPE_HSI;
  RCC_OscInitStruct.HSIState = RCC_HSI_ON;
  RCC_OscInitStruct.HSICalibrationValue = RCC_HSICALIBRATION_DEFAULT;
  RCC_OscInitStruct.PLL.PLLState = RCC_PLL_NONE;
  if (HAL_RCC_OscConfig(&RCC_OscInitStruct) != HAL_OK)
  {
    Error_Handler();
  }

  /** Initializes the CPU, AHB and APB buses clocks
  */
  RCC_ClkInitStruct.ClockType = RCC_CLOCKTYPE_HCLK|RCC_CLOCKTYPE_SYSCLK
                              |RCC_CLOCKTYPE_PCLK1|RCC_CLOCKTYPE_PCLK2;
  RCC_ClkInitStruct.SYSCLKSource = RCC_SYSCLKSOURCE_HSI;
  RCC_ClkInitStruct.AHBCLKDivider = RCC_SYSCLK_DIV1;
  RCC_ClkInitStruct.APB1CLKDivider = RCC_HCLK_DIV1;
  RCC_ClkInitStruct.APB2CLKDivider = RCC_HCLK_DIV1;

  if (HAL_RCC_ClockConfig(&RCC_ClkInitStruct, FLASH_LATENCY_0) != HAL_OK)
  {
    Error_Handler();
  }
}

static void MX_SPI1_Init(void)
{

  /* SPI1 parameter configuration*/
  hspi1.Instance = SPI1;
  hspi1.Init.Mode = SPI_MODE_MASTER;
  hspi1.Init.Direction = SPI_DIRECTION_2LINES;
  hspi1.Init.DataSize = SPI_DATASIZE_8BIT;
  hspi1.Init.CLKPolarity = SPI_POLARITY_LOW;
  hspi1.Init.CLKPhase = SPI_PHASE_1EDGE;
  hspi1.Init.NSS = SPI_NSS_SOFT;
  hspi1.Init.BaudRatePrescaler = SPI_BAUDRATEPRESCALER_2;
  hspi1.Init.FirstBit = SPI_FIRSTBIT_MSB;
  hspi1.Init.TIMode = SPI_TIMODE_DISABLE;
  hspi1.Init.CRCCalculation = SPI_CRCCALCULATION_DISABLE;
  hspi1.Init.CRCPolynomial = 10;
  if (HAL_SPI_Init(&hspi1) != HAL_OK)
  {
    Error_Handler();
  }

}

static void MX_SPI2_Init(void)
{

  /* SPI2 parameter configuration*/
  hspi2.Instance = SPI2;
  hspi2.Init.Mode = SPI_MODE_MASTER;
  hspi2.Init.Direction = SPI_DIRECTION_2LINES;
  hspi2.Init.DataSize = SPI_DATASIZE_8BIT;
  hspi2.Init.CLKPolarity = SPI_POLARITY_LOW;
  hspi2.Init.CLKPhase = SPI_PHASE_1EDGE;
  hspi2.Init.NSS = SPI_NSS_SOFT;
  hspi2.Init.BaudRatePrescaler = SPI_BAUDRATEPRESCALER_2;
  hspi2.Init.FirstBit = SPI_FIRSTBIT_MSB;
  hspi2.Init.TIMode = SPI_TIMODE_DISABLE;
  hspi2.Init.CRCCalculation = SPI_CRCCALCULATION_DISABLE;
  hspi2.Init.CRCPolynomial = 10;
  if (HAL_SPI_Init(&hspi2) != HAL_OK)
  {
    Error_Handler();
  }

}

static void MX_USART1_UART_Init(void)
{

  huart1.Instance = USART1;
  huart1.Init.BaudRate = 115200;
  huart1.Init.WordLength = UART_WORDLENGTH_8B;
  huart1.Init.StopBits = UART_STOPBITS_1;
  huart1.Init.Parity = UART_PARITY_NONE;
  huart1.Init.Mode = UART_MODE_TX_RX;
  huart1.Init.HwFlowCtl = UART_HWCONTROL_NONE;
  huart1.Init.OverSampling = UART_OVERSAMPLING_16;
  if (HAL_UART_Init(&huart1) != HAL_OK)
  {
    Error_Handler();
  }

}

static void MX_USART2_UART_Init(void)
{

  huart2.Instance = USART2;
  huart2.Init.BaudRate = 115200;
  huart2.Init.WordLength = UART_WORDLENGTH_8B;
  huart2.Init.StopBits = UART_STOPBITS_1;
  huart2.Init.Parity = UART_PARITY_NONE;
  huart2.Init.Mode = UART_MODE_TX_RX;
  huart2.Init.HwFlowCtl = UART_HWCONTROL_NONE;
  huart2.Init.OverSampling = UART_OVERSAMPLING_16;
  if (HAL_UART_Init(&huart2) != HAL_OK)
  {
    Error_Handler();
  }

}

static void MX_GPIO_Init(void)
{
  GPIO_InitTypeDef GPIO_InitStruct = {0};

  /* GPIO Ports Clock Enable */
  __HAL_RCC_GPIOC_CLK_ENABLE();
  __HAL_RCC_GPIOA_CLK_ENABLE();
  __HAL_RCC_GPIOB_CLK_ENABLE();

  /*Configure GPIO pin Output Level */
  HAL_GPIO_WritePin(ADXL_CS_GPIO_Port, ADXL_CS_Pin, GPIO_PIN_SET);

  /*Configure GPIO pin Output Level */
  HAL_GPIO_WritePin(GPIOB, HAT_PWR_OFF_Pin|MODEM_PWRKEY_Pin, GPIO_PIN_RESET);

  /*Configure GPIO pin Output Level */
  HAL_GPIO_WritePin(SD_CS_GPIO_Port, SD_CS_Pin, GPIO_PIN_SET);

  /*Configure GPIO pin : ADXK_DRDY_Pin */
  GPIO_InitStruct.Pin = ADXK_DRDY_Pin;
  GPIO_InitStruct.Mode = GPIO_MODE_INPUT;
  GPIO_InitStruct.Pull = GPIO_NOPULL;
  HAL_GPIO_Init(ADXK_DRDY_GPIO_Port, &GPIO_InitStruct);

  /*Configure GPIO pin : ADXL_CS_Pin */
  GPIO_InitStruct.Pin = ADXL_CS_Pin;
  GPIO_InitStruct.Mode = GPIO_MODE_OUTPUT_PP;
  GPIO_InitStruct.Pull = GPIO_NOPULL;
  GPIO_InitStruct.Speed = GPIO_SPEED_FREQ_HIGH;
  HAL_GPIO_Init(ADXL_CS_GPIO_Port, &GPIO_InitStruct);

  /*Configure GPIO pins : HAT_PWR_OFF_Pin MODEM_PWRKEY_Pin */
  GPIO_InitStruct.Pin = HAT_PWR_OFF_Pin|MODEM_PWRKEY_Pin;
  GPIO_InitStruct.Mode = GPIO_MODE_OUTPUT_PP;
  GPIO_InitStruct.Pull = GPIO_PULLDOWN;
  GPIO_InitStruct.Speed = GPIO_SPEED_FREQ_LOW;
  HAL_GPIO_Init(GPIOB, &GPIO_InitStruct);

  /*Configure GPIO pin : MODEM_RI_Pin */
  GPIO_InitStruct.Pin = MODEM_RI_Pin;
  GPIO_InitStruct.Mode = GPIO_MODE_IT_FALLING;
  GPIO_InitStruct.Pull = GPIO_PULLUP;
  HAL_GPIO_Init(MODEM_RI_GPIO_Port, &GPIO_InitStruct);

  /*Configure GPIO pin : ADXL_INT1_Pin */
  GPIO_InitStruct.Pin = ADXL_INT1_Pin;
  GPIO_InitStruct.Mode = GPIO_MODE_IT_RISING;
  GPIO_InitStruct.Pull = GPIO_PULLDOWN;
  HAL_GPIO_Init(ADXL_INT1_GPIO_Port, &GPIO_InitStruct);

  /*Configure GPIO pin : SD_CS_Pin */
  GPIO_InitStruct.Pin = SD_CS_Pin;
  GPIO_InitStruct.Mode = GPIO_MODE_OUTPUT_PP;
  GPIO_InitStruct.Pull = GPIO_NOPULL;
  GPIO_InitStruct.Speed = GPIO_SPEED_FREQ_HIGH;
  HAL_GPIO_Init(SD_CS_GPIO_Port, &GPIO_InitStruct);

  /* EXTI interrupt init*/
  HAL_NVIC_SetPriority(EXTI9_5_IRQn, 0, 0);
  HAL_NVIC_EnableIRQ(EXTI9_5_IRQn);

}

/* USER CODE BEGIN 4 */
// Redirect printf to UART
int _write(int file, char *ptr, int len)
{
  // Usar timeout de 0 o muy bajo para evitar bloqueo si no hay receptor
  // Si el PC no está conectado, el buffer interno del UART se llenará y
  // HAL_UART_Transmit podría bloquearse esperando que se vacíe si el timeout es alto.
  // Con timeout pequeño, se perderán caracteres pero el sistema seguirá corriendo.
  HAL_StatusTypeDef status = HAL_UART_Transmit(&huart2, (uint8_t*)ptr, len, 10);
  if (status != HAL_OK) {
      // Opcional: Manejar error, pero lo importante es no bloquear
  }
  return len;
}

void HAL_GPIO_EXTI_Callback(uint16_t GPIO_Pin)
{
  if (GPIO_Pin == ADXL_INT1_Pin) {
    g_event_pending = 1;
  }
}
/* USER CODE END 4 */

void Error_Handler(void)
{
  __disable_irq();
  while (1)
  {
  }
}
